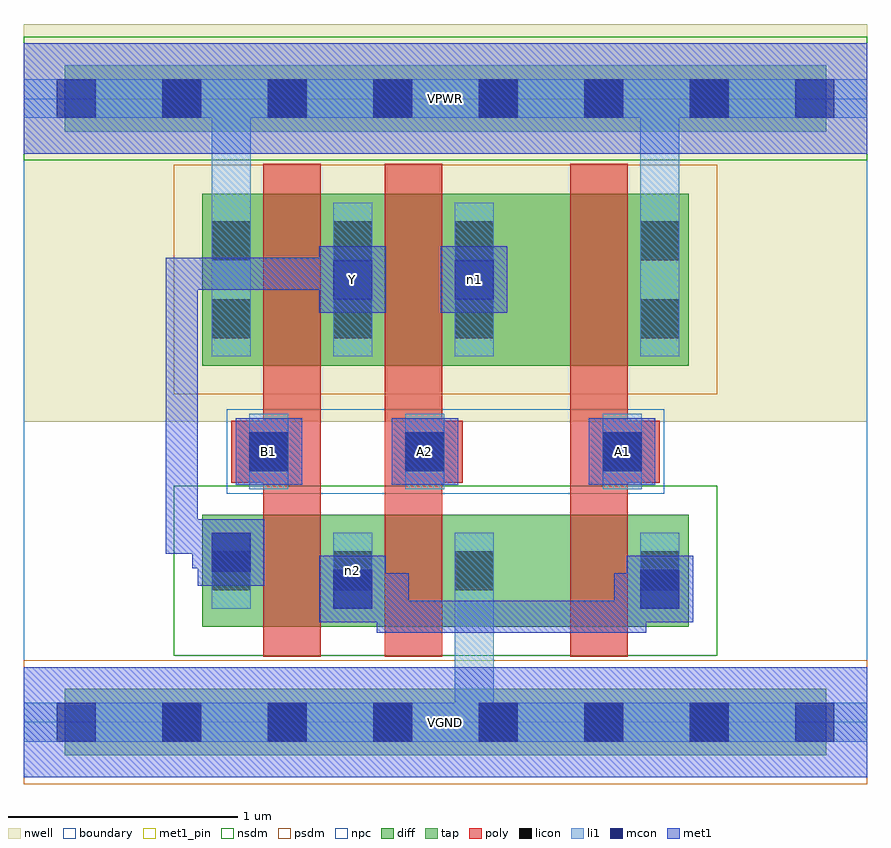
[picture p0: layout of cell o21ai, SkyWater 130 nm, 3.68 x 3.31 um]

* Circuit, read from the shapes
.subckt o21ai A1 A2 B1 VGND VPWR Y n1 n2
XM1 n2 B1 Y VGND sky130_fd_pr__nfet_01v8 w=0.49 l=0.25
XM2 VGND A2 n2 VGND sky130_fd_pr__nfet_01v8 w=0.49 l=0.25
XM3 n2 A1 VGND VGND sky130_fd_pr__nfet_01v8 w=0.49 l=0.25
XM4 Y B1 VPWR VPWR sky130_fd_pr__pfet_01v8 w=0.75 l=0.25
XM5 n1 A2 Y VPWR sky130_fd_pr__pfet_01v8 w=0.75 l=0.25
XM6 VPWR A1 n1 VPWR sky130_fd_pr__pfet_01v8 w=0.75 l=0.25
.ends

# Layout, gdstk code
import gdstk
lib = gdstk.Library(unit=1e-6, precision=1e-09)
def R(c, l, rs):  # rectangles x0, y0, x1, y1
    for r in rs: c.add(gdstk.rectangle(r[:2], r[2:], *l))
def A(c, l, x, y, w, h, nx, ny, dx, dy):  # array of equal rectangles
    R(c, l, [(x+i*dx, y+j*dy, x+i*dx+w, y+j*dy+h) for i in range(nx) for j in range(ny)])
nwell = (64, 20)
diff = (65, 20)
tap = (65, 44)
poly = (66, 20)
licon = (66, 44)
li1 = (67, 20)
mcon = (67, 44)
met1_pin = (68, 16)
met1 = (68, 20)
nsdm = (93, 44)
psdm = (94, 20)
npc = (95, 20)
boundary = (235, 4)

o21ai = lib.new_cell('o21ai')
R(o21ai, nwell, [(0,1.31,3.68,3.045)])
R(o21ai, diff, [(0.78,0.415,2.9,0.905), (0.78,1.555,2.9,2.305)])
R(o21ai, tap, [(0.18,-0.145,3.5,0.145), (0.18,2.575,3.5,2.865)])
R(o21ai, poly, [(1.045,0.285,1.295,2.435), (1.575,0.285,1.825,2.435), (2.385,0.285,2.635,2.435), (0.905,1.045,1.235,1.315), (1.585,1.045,1.915,1.315), (2.445,1.045,2.775,1.315)])
A(o21ai, licon, 0.605, -0.085, 0.17, 0.17, 6, 2, 0.46, 2.72)
A(o21ai, licon, 0.82, 0.575, 0.17, 0.17, 3, 2, 0.53, 1.1)
A(o21ai, licon, 0.82, 2.015, 0.17, 0.17, 3, 1, 0.53, 0)
R(o21ai, licon, [(2.69,0.575,2.86,0.745), (0.985,1.095,1.155,1.265), (1.665,1.095,1.835,1.265), (2.525,1.095,2.695,1.265), (2.69,1.675,2.86,1.845), (2.69,2.015,2.86,2.185)])
A(o21ai, li1, 0.82, 0.495, 0.17, 0.33, 3, 1, 0.53, 0)
A(o21ai, li1, 0.82, 1.595, 0.17, 0.67, 3, 1, 0.53, 0)
R(o21ai, li1, [(0,-0.085,3.68,0.085), (1.88,-0.085,2.05,0.825), (2.69,0.495,2.86,0.825), (0.985,1.015,1.155,1.345), (1.665,1.015,1.835,1.345), (2.525,1.015,2.695,1.345), (0.82,1.595,0.99,2.805), (2.69,1.595,2.86,2.265), (2.69,1.595,2.86,2.805), (0,2.635,3.68,2.805)])
A(o21ai, mcon, 0.145, -0.085, 0.17, 0.17, 8, 2, 0.46, 2.72)
R(o21ai, mcon, [(1.35,0.495,1.52,0.665), (2.69,0.495,2.86,0.665), (0.82,0.655,0.99,0.825), (0.985,1.095,1.155,1.265), (1.665,1.095,1.835,1.265), (2.525,1.095,2.695,1.265), (1.35,1.845,1.52,2.015), (1.88,1.845,2.05,2.015)])
R(o21ai, met1_pin, [(0,-0.24,3.68,0.24), (0.925,1.035,1.215,1.325), (1.605,1.035,1.895,1.325), (2.465,1.035,2.755,1.325), (1.29,1.785,1.58,2.075), (0,2.48,3.68,2.96)])
R(o21ai, met1, [(0,-0.24,3.68,0.24), (1.54,0.39,1.68,0.65), (1.54,0.39,2.715,0.53), (2.575,0.39,2.715,0.65), (1.29,0.435,1.58,0.725), (2.63,0.435,2.92,0.725), (1.365,0.51,1.68,0.65), (2.575,0.51,2.845,0.65), (0.76,0.595,1.05,0.885), (0.735,0.67,0.975,0.81), (0.735,0.67,0.875,0.875), (0.62,0.735,0.76,2.025), (0.62,0.735,0.875,0.875), (0.925,1.035,1.215,1.325), (1.605,1.035,1.895,1.325), (2.465,1.035,2.755,1.325), (1.29,1.785,1.58,2.075), (1.82,1.785,2.11,2.075), (0.62,1.885,1.45,2.025), (1.31,1.885,1.45,2.025), (0,2.48,3.68,2.96)])
R(o21ai, nsdm, [(0.655,0.29,3.025,1.03), (0,2.45,3.68,2.99)])
R(o21ai, psdm, [(0,-0.27,3.68,0.27), (0.655,1.43,3.025,2.43)])
R(o21ai, npc, [(0.885,0.995,2.795,1.365)])
R(o21ai, boundary, [(0,0,3.68,2.72)])
o21ai.add(gdstk.Label('n2', (1.435,0.66), layer=67, texttype=5))
o21ai.add(gdstk.Label('n1', (1.965,1.93), layer=67, texttype=5))
o21ai.add(gdstk.Label('A1', (2.61,1.18), layer=68, texttype=5))
o21ai.add(gdstk.Label('A2', (1.75,1.18), layer=68, texttype=5))
o21ai.add(gdstk.Label('B1', (1.07,1.18), layer=68, texttype=5))
o21ai.add(gdstk.Label('Y', (1.435,1.93), layer=68, texttype=5))
o21ai.add(gdstk.Label('VPWR', (1.84,2.72), layer=68, texttype=5))
o21ai.add(gdstk.Label('VGND', (1.84,0), layer=68, texttype=5))
o21ai.add(gdstk.Label('A1', (2.61,1.18), layer=68, texttype=16))
o21ai.add(gdstk.Label('A2', (1.75,1.18), layer=68, texttype=16))
o21ai.add(gdstk.Label('B1', (1.07,1.18), layer=68, texttype=16))
o21ai.add(gdstk.Label('Y', (1.435,1.93), layer=68, texttype=16))
o21ai.add(gdstk.Label('VPWR', (1.84,2.72), layer=68, texttype=16))
o21ai.add(gdstk.Label('VGND', (1.84,0), layer=68, texttype=16))

lib.write_gds('o21ai.gds')
